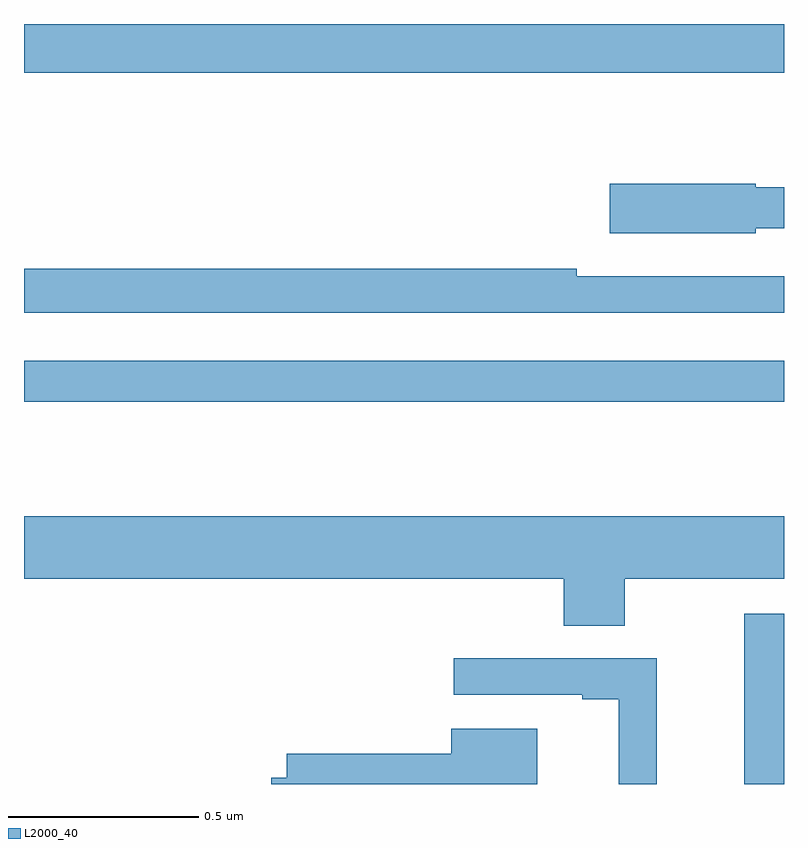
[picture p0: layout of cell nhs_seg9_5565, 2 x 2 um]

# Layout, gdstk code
import gdstk
lib = gdstk.Library(unit=1e-6, precision=1e-09)
def R(c, l, rs):  # rectangles x0, y0, x1, y1
    for r in rs: c.add(gdstk.rectangle(r[:2], r[2:], *l))
def P(c, l, *ps):  # polygons
    for p in ps: c.add(gdstk.Polygon(p, *l))
L2000_40 = (2000, 40)

nhs_seg9_5565 = lib.new_cell('nhs_seg9_5565')
R(nhs_seg9_5565, L2000_40, [(181.895,1242.5,182,1242.948), (180,1243.506,182,1243.614), (180,1244.372,182,1244.5)])
P(nhs_seg9_5565, L2000_40, [(181.926,1243.962),(182,1243.962),(182,1244.071),(181.926,1244.071),(181.926,1244.079),(181.542,1244.079),(181.542,1243.949),(181.926,1243.949)],
  [(182,1243.836),(181.454,1243.836),(181.454,1243.856),(180,1243.856),(180,1243.74),(182,1243.74)],
  [(181.581,1243.04),(182,1243.04),(182,1243.204),(180,1243.204),(180,1243.04),(181.421,1243.04),(181.421,1242.916),(181.581,1242.916)],
  [(181.665,1242.831),(181.131,1242.831),(181.131,1242.735),(181.469,1242.735),(181.469,1242.723),(181.565,1242.723),(181.565,1242.5),(181.665,1242.5)],
  [(181.351,1242.646),(181.124,1242.646),(181.124,1242.58),(180.692,1242.58),(180.692,1242.517),(180.65,1242.517),(180.65,1242.5),(181.351,1242.5)])

lib.write_gds('nhs_seg9_5565.gds')
